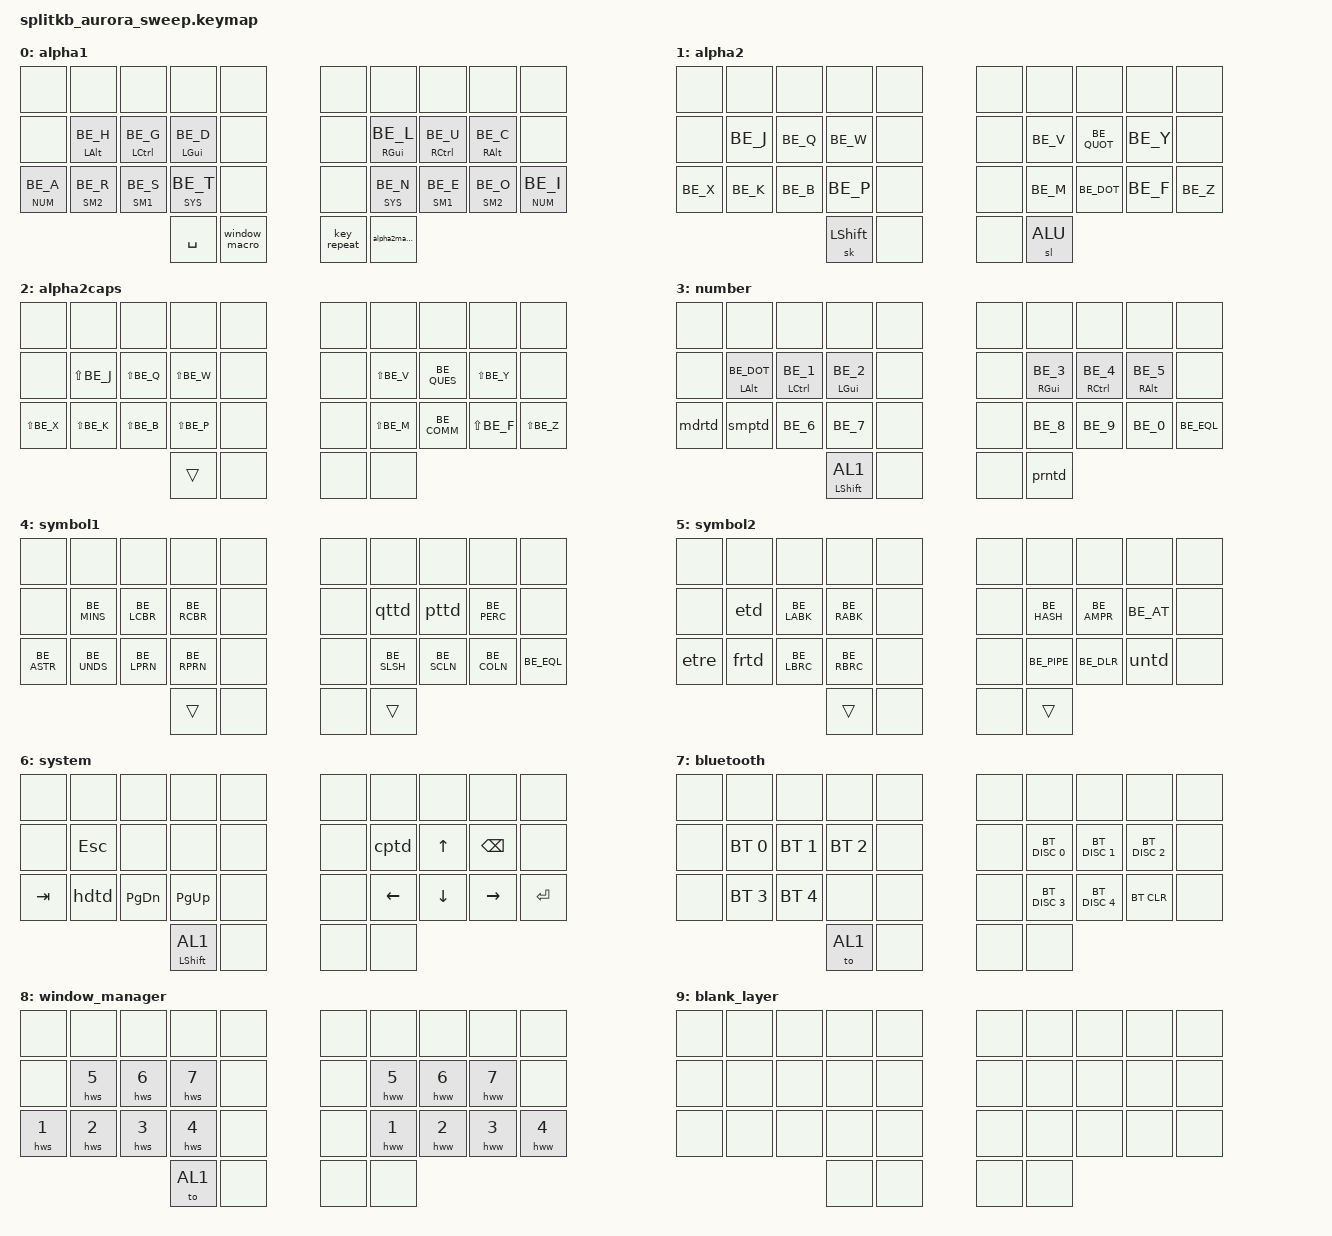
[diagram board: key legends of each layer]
/*
 * Copyright (c) 2022 The ZMK Contributors
 *
 * SPDX-License-Identifier: MIT
 */

#include <behaviors.dtsi>
#include <dt-bindings/zmk/keys.h>
#include <dt-bindings/zmk/bt.h>
#include <dt-bindings/zmk/outputs.h>
#include <dt-bindings/zmk/mouse.h>
#include "keymap_belgian.h"

#define AL1 0  // alpha1
#define AL2 1  // alpha2
#define ALU 2  // alpha2 capitalized
#define NUM 3  // number
#define SM1 4  // symbol 1
#define SM2 5  // symbol 2
#define SYS 6  // system layer
#define BTL 7  // bluetooth layer
#define WIN 8  // window manager

&mt {
    tapping-term-ms = <201>;
    flavor = "tap-preferred";
 };
&sk {
     release-after-ms = <2000>;
     quick-release;
 };

/ {

  chosen {
    zmk,battery = &vbatt;
  };

  vbatt: vbatt {
    compatible = "zmk,battery-nrf-vddh";
  };


  keymap {
    compatible = "zmk,keymap";

    alpha1 {
      bindings = <
        &none &none &none &none &none                       &none &none &none &none &none
        &none &hm_l LALT BE_H &hm_l LCTRL BE_G &hm_l LGUI BE_D &none                       &none &hm_r RGUI BE_L &hm_r RCTRL BE_U &hm_r RALT BE_C &none
        &hl_l NUM BE_A &hl_l SM2 BE_R &hl_l SM1 BE_S &hl_l SYS BE_T &none                       &none &hl_r SYS BE_N &hl_r SM1 BE_E &hl_r SM2 BE_O &hl_r NUM BE_I
                          &kp SPC &window_macro                 &key_repeat &alpha2macro
      >;
    };

    alpha2 {
      bindings = <
        &none &none &none &none &none                       &none &none &none &none &none
        &none &kp BE_J &kp BE_Q &kp BE_W &none                       &none &kp BE_V &kp BE_QUOT  &kp BE_Y &none
        &kp BE_X &kp BE_K &kp BE_B &kp BE_P &none                       &none &kp BE_M &kp BE_DOT &kp BE_F &kp BE_Z
                          &sk LSHIFT &none                       &none &sl ALU
      >;

    };
    alpha2caps {
      bindings = <
        &none &none &none &none &none                       &none &none &none &none &none
        &none &kp LS(BE_J) &kp LS(BE_Q) &kp LS(BE_W) &none                       &none &kp LS(BE_V) &kp BE_QUES  &kp LS(BE_Y) &none
        &kp LS(BE_X) &kp LS(BE_K) &kp LS(BE_B) &kp LS(BE_P) &none                       &none &kp LS(BE_M) &kp BE_COMM &kp LS(BE_F) &kp LS(BE_Z)
                          &trans &none                       &none &none
      >;
    };


    number {
      bindings = <
        &none &none &none &none &none                       &none &none &none &none &none
        &none &hm_l LALT BE_DOT &hm_l LCTRL BE_1 &hm_l LGUI BE_2 &none                       &none &hm_r RGUI BE_3 &hm_r RCTRL BE_4 &hm_r RALT BE_5 &none
        &mdrtd &smptd &kp BE_6 &kp BE_7 &none                       &none &kp BE_8 &kp BE_9 &kp BE_0 &kp BE_EQL
                          &sr LSHIFT AL1 &none                       &none &prntd
      >;
    };

    symbol1 {
      bindings = <
        &none &none &none &none &none                       &none &none &none &none &none
        &none &kp BE_MINS &kp BE_LCBR &kp BE_RCBR &none                       &none &qttd &pttd &kp BE_PERC &none
        &kp BE_ASTR &kp BE_UNDS &kp BE_LPRN &kp BE_RPRN &none                       &none &kp BE_SLSH &kp BE_SCLN &kp BE_COLN &kp BE_EQL
                          &trans &none                       &none &trans
      >;
    };
    symbol2 {
      bindings = <
        &none &none &none &none &none                       &none &none &none &none &none
        &none &etd &kp BE_LABK &kp BE_RABK &none                       &none &kp BE_HASH &kp BE_AMPR &kp BE_AT &none
        &etre &frtd &kp BE_LBRC &kp BE_RBRC &none                       &none &kp BE_PIPE &kp BE_DLR &untd &none
                          &trans &none                       &none &trans
      >;
    };
    system {
      bindings = <
        &none &none &none &none &none                       &none &none &none &none &none
        &none &kp ESC &none &none &none                       &none &cptd &kp UP &kp BSPC &none
        &kp TAB &hdtd &kp PG_DN &kp PG_UP &none                       &none &kp LEFT &kp DOWN &kp RIGHT &kp RET
                          &sr LSHIFT AL1 &none                       &none &none
      >;
    };
    bluetooth {
      bindings = <
        &none &none &none &none &none                       &none &none &none &none &none
        &none &bt BT_SEL 0 &bt BT_SEL 1 &bt BT_SEL 2 &none                       &none &bt BT_DISC 0 &bt BT_DISC 1 &bt BT_DISC 2 &none
        &none &bt BT_SEL 3 &bt BT_SEL 4 &none &none                       &none &bt BT_DISC 3 &bt BT_DISC 4 &bt BT_CLR &none
                          &to AL1 &none                       &none &none
      >;
    };
    window_manager {
      bindings = <
        &none &none &none &none &none                       &none &none &none &none &none
        &none &hws N5 &hws N6 &hws N7 &none                       &none &hww N5 &hww N6 &hww N7 &none
        &hws N1 &hws N2 &hws N3 &hws N4 &none                       &none &hww N1 &hww N2 &hww N3 &hww N4
                          &to AL1 &none                       &none &none
      >;
    };
    blank_layer {
      bindings = <
        &none &none &none &none &none                       &none &none &none &none &none
        &none &none &none &none &none                       &none &none &none &none &none
        &none &none &none &none &none                       &none &none &none &none &none
                          &none &none                       &none &none
      >;
    };
  };


  macros {
    alpha2macro: behavior_macro_1 {
      compatible = "zmk,behavior-macro";
      label = "MACRO1";
      #binding-cells = <0>;
      bindings = <&macro_tap &sl AL2 >;
    };
    caps_alpha2macro: behavior_macro_2 {
      compatible = "zmk,behavior-macro";
      label = "MACRO2";
      #binding-cells = <0>;
      bindings = <&macro_tap &sl ALU >;
    };
    window_macro: behavior_macro_3 {
      compatible = "zmk,behavior-macro";
      label = "MACRO3";
      #binding-cells = <0>;
      bindings = <&macro_tap &sl WIN >;
    };
    udtd: undead_tilda {
      compatible = "zmk,behavior-macro";
      #binding-cells = <0>;
      wait-ms = <40>;
      tap-ms = <40>;
      bindings = <&kp BE_TILD>, <&kp SPACE>;
    };
    
    udgr: undead_grave {
      compatible = "zmk,behavior-macro";
      #binding-cells = <0>;
      wait-ms = <40>;
      tap-ms = <40>;
      bindings = <&kp BE_GRV>, <&kp SPACE>;
    }; 

    etre: e-trema {
      compatible = "zmk,behavior-macro";
      #binding-cells = <0>;
      wait-ms = <40>;
      tap-ms = <40>;
      bindings = <&kp BE_DIAE>, <&kp BE_E>;
    };
    hws: hyprland_workspace_switch {
      compatible = "zmk,behavior-macro-one-param";
      wait-ms = <40>;
      tap-ms = <40>;
      #binding-cells = <1>;
      bindings = 
        <&macro_press &kp LGUI>,
        <&macro_param_1to1>,
        <&macro_tap &kp 0>,
        <&macro_release &kp LGUI>;
    };

    hww: hyprland_window_to_workspace {
      compatible = "zmk,behavior-macro-one-param";
      wait-ms = <40>;
      tap-ms = <40>;
      #binding-cells = <1>;
      bindings = 
        <&macro_press &kp LGUI>,
        <&macro_press &kp LSHFT>,
        <&macro_param_1to1>,
        <&macro_tap &kp 0>,
        <&macro_release &kp LSHFT>,
        <&macro_release &kp LGUI>;
    };
  };

  behaviors {
    hm_l: homerow_mods_left {
      compatible = "zmk,behavior-hold-tap";
      label = "HOMEROW_MODS_L";
      #binding-cells = <2>;
      tapping-term-ms = <300>;
      quick-tap-ms = <250>;
      flavor = "tap-preferred";
      bindings = <&kp>, <&kp>;
    };
    hm_r: homerow_mods_right {
      compatible = "zmk,behavior-hold-tap";
      label = "HOMEROW_MODS_R";
      #binding-cells = <2>;
      tapping-term-ms = <300>;
      quick-tap-ms = <250>;
      flavor = "tap-preferred";
      bindings = <&kp>, <&kp>;
    };
    sr: shift_layer {
      compatible = "zmk,behavior-hold-tap";
      label = "SHIFT_LAYER";
      #binding-cells = <2>;
      tapping-term-ms = <300>;
      quick_tap_ms = <0>;
      flavor = "tap-preferred";
      bindings = <&kp>, <&to>;
      retro-tap;
    };
    hl_l: homerow_layers_left {
      compatible = "zmk,behavior-hold-tap";
      label = "HOMEROW_LAYERS_L";
      #binding-cells = <2>;
      tapping-term-ms = <220>;
      quick-tap-ms = <250>;
      flavor = "tap-preferred";
      bindings = <&mo>, <&kp>;
    };
    hl_r: homerow_layers_right {
      compatible = "zmk,behavior-hold-tap";
      label = "HOMEROW_LAYERS_R";
      #binding-cells = <2>;
      tapping-term-ms = <220>;
      quick-tap-ms = <250>;
      flavor = "tap-preferred";
      bindings = <&mo>, <&kp>;
    };
    th: taphold {
      compatible = "zmk,behavior-hold-tap";
      label = "TAPHOLD";
      #binding-cells = <2>;
      tapping-term-ms = <190>;
      quick-tap-ms = <250>;
      flavor = "tap-preferred";
      bindings = <&kp>, <&kp>;
    }; 
    untd: undead_tapdance {
      compatible = "zmk,behavior-tap-dance";
      label = "TAPDANCE0";
      #binding-cells = <0>;
      tapping-term-ms = <190>;
      bindings = <&udgr>, <&udtd>;
    };
    qttd: quotes_tap_dance {
      compatible = "zmk,behavior-tap-dance";
      label = "TAPDANCE1";
      #binding-cells = <0>;
      tapping-term-ms = <190>;
      bindings = <&kp BE_DQUO>, <&kp BE_QUOT>;
    };
    pttd: punctuation_tap_dance { 
      compatible = "zmk,behavior-tap-dance";
      label = "TAPDANCE2";
      #binding-cells = <0>;
      tapping-term-ms = <190>;
      bindings = <&kp BE_EXLM>, <&kp BE_QUES>;
    };
    hdtd: home_delete_tap_dance { 
      compatible = "zmk,behavior-tap-dance";
      label = "TAPDANCE3";
      #binding-cells = <0>;
      tapping-term-ms = <190>;
      bindings = <&kp DEL>, <&kp HOME>;
    };
    etd: e_tap_dance { 
      compatible = "zmk,behavior-tap-dance";
      label = "TAPDANCE4";
      #binding-cells = <0>;
      tapping-term-ms = <190>;
      bindings = <&kp BE_EACU>, <&kp BE_EGRV>;
    };
    frtd: french_tap_dance { 
      compatible = "zmk,behavior-tap-dance";
      label = "TAPDANCE5";
      #binding-cells = <0>;
      tapping-term-ms = <190>;
      bindings = <&kp BE_AGRV>, <&kp BE_CCED>;
    };
    cptd: copy_paste_tap_dance { 
      compatible = "zmk,behavior-tap-dance";
      label = "TAPDANCE6";
      #binding-cells = <0>;
      tapping-term-ms = <190>;
      bindings = <&kp LC(BE_C)>, <&kp LC(BE_V)>;
    };
    smptd: sum_multiply_power_tap_dance { 
      compatible = "zmk,behavior-tap-dance";
      label = "TAPDANCE7";
      #binding-cells = <0>;
      tapping-term-ms = <190>;
      bindings = <&kp BE_PLUS>, <&kp BE_ASTR>, <&kp BE_CIRC>;
    };
    mdrtd: min_devide_remain_tap_dance { 
      compatible = "zmk,behavior-tap-dance";
      label = "TAPDANCE8";
      #binding-cells = <0>;
      tapping-term-ms = <190>;
      bindings = <&kp BE_MINS>, <&kp BE_SLSH>, <&kp BE_PERC>;
    };
    prntd: paren_tap_dance { 
      compatible = "zmk,behavior-tap-dance";
      label = "TAPDANCE9";
      #binding-cells = <0>;
      tapping-term-ms = <190>;
      bindings = <&kp BE_LPRN>, <&kp BE_RPRN>;
    };
  };
  combos {
    compatible = "zmk,combos";
    combo_sys {
      timeout-ms = <30>;
      key-positions = <16 17 18>;
      bindings = <&to SYS>;
      layers = <AL1>;
    };
    combo_sys_1 {
      timeout-ms = <30>;
      key-positions = <11 12 13>;
      bindings = <&to SYS>;
      layers = <AL1>;
    };
    combo_caps {
      timeout-ms = <30>;
      key-positions = <26 27 28>;
      bindings = <&caps_word>;
      layers = <AL1>;
    };
    combo_bt {
      timeout-ms = <30>;
      key-positions = <16 17>;
      bindings = <&to BTL>;
      layers = <SYS>;
    };
    lshft {
      timeout-ms = <20>;
      key-positions = <20 21>;
      bindings = <&kp LSHIFT>;
      layers = <SYS>;
    };
    lclk {
      timeout-ms = <20>;
      key-positions = <22 23>;
      bindings = <&mkp LCLK>;
      layers = <SYS>;
    };
    rclk {
      timeout-ms = <20>;
      key-positions = <12 23>;
      bindings = <&mkp RCLK>;
      layers = <SYS>;
    };
    mclk {
      timeout-ms = <20>;
      key-positions = <12 13>;
      bindings = <&mkp MCLK>;
      layers = <SYS>;
    }; 
  };
  
};
